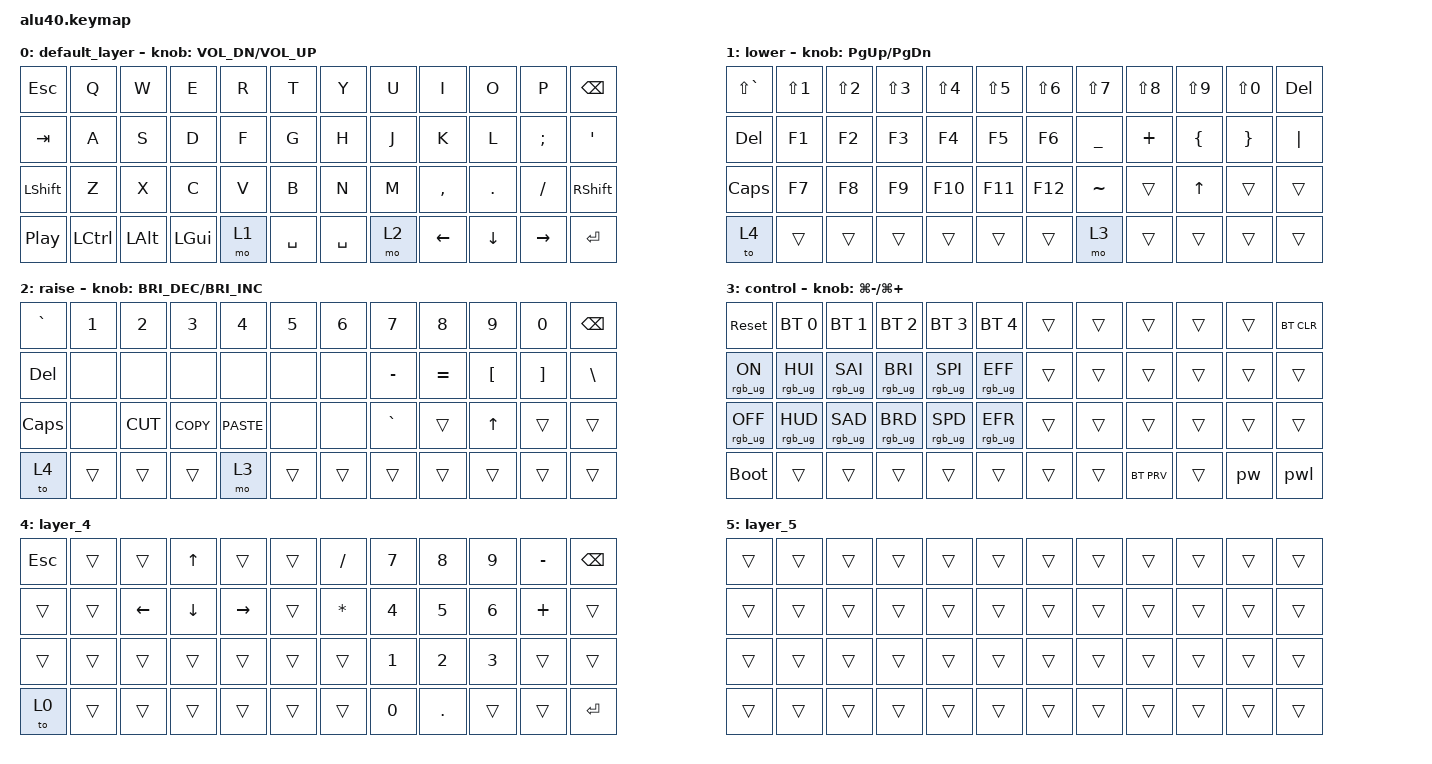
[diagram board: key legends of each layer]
/*
 * Copyright (c) 2022 The ZMK Contributors
 *
 * SPDX-License-Identifier: MIT
 */

#include <behaviors.dtsi>
#include <dt-bindings/zmk/bt.h>
#include <dt-bindings/zmk/keys.h>
#include <dt-bindings/zmk/rgb.h>

/ {
    macros {
        pw: pw {
            compatible = "zmk,behavior-macro";
            #binding-cells = <0>;
            bindings = <&kp LS(A) &kp S &kp K &kp N &kp O &kp T &kp F &kp O &kp R &kp W &kp H &kp O &kp M &kp T &kp H &kp E &kp B &kp E &kp L &kp L &kp T &kp O &kp L &kp L &kp S &kp EXCL &kp ENTER>;
            label = "PW";
        };

        pwl: pwl {
            compatible = "zmk,behavior-macro";
            #binding-cells = <0>;
            bindings = <&none &kp LS(T) &kp H &kp I &kp S &kp I &kp S &kp LS(N) &kp N0 &kp LS(T) &kp S &kp P &kp A &kp R &kp T &kp A &kp EXCL>;
            label = "PWL";
        };
    };

    combos {
        compatible = "zmk,combos";

        espace {
            bindings = <&kp ENTER>;
            key-positions = <41 42>;
        };
    };

    keymap {
        compatible = "zmk,keymap";

        default_layer {
            // -----------------------------------------------------------------------------------------
            // | ESC/~ |  Q   |  W   |  E   |  R   |  T   |   Y   |  U    |  I   |  O   |   P   | BSPC  |
            // | TAB   |  A   |  S   |  D   |  F   |  G   |   H   |  J    |  K   |  L   |   ;   |  '    |
            // | SHIFT |  Z   |  X   |  C   |  V   |  B   |   N   |  M    |  ,   |  .   |   /   |RET/SFT|
            // | PLAY  | LCTL | LALT | LGUI | LOWR |     SPACE    |  RAIS | LARW | UARW | DARW  |  RARW |

            bindings = <
&kp ESCAPE  &kp Q      &kp W     &kp E     &kp R  &kp T      &kp Y      &kp U  &kp I      &kp O           &kp P            &kp BSPC
&kp TAB     &kp A      &kp S     &kp D     &kp F  &kp G      &kp H      &kp J  &kp K      &kp L           &kp SEMI         &kp SQT
&kp LSHFT   &kp Z      &kp X     &kp C     &kp V  &kp B      &kp N      &kp M  &kp COMMA  &kp DOT         &kp FSLH         &kp RIGHT_SHIFT
&kp C_PP    &kp LCTRL  &kp LALT  &kp LGUI  &mo 1  &kp SPACE  &kp SPACE  &mo 2  &kp LEFT   &kp DOWN_ARROW  &kp RIGHT_ARROW  &kp ENTER
            >;

            sensor-bindings = <&inc_dec_kp C_VOL_DN C_VOL_UP>;
        };

        lower {
            bindings = <
&kp LS(GRAVE)  &kp LS(N1)  &kp LS(N2)  &kp LS(N3)  &kp LS(N4)  &kp LS(N5)  &kp LS(N6)  &kp LS(N7)  &kp LS(N8)  &kp LS(N9)    &kp LS(N0)  &kp DEL
&kp DEL        &kp F1      &kp F2      &kp F3      &kp F4      &kp F5      &kp F6      &kp UNDER   &kp PLUS    &kp LBRC      &kp RBRC    &kp PIPE
&kp CAPSLOCK   &kp F7      &kp F8      &kp F9      &kp F10     &kp F11     &kp F12     &kp TILDE   &trans      &kp UP_ARROW  &trans      &trans
&to 4          &trans      &trans      &trans      &trans      &trans      &trans      &mo 3       &trans      &trans        &trans      &trans
            >;

            sensor-bindings = <&inc_dec_kp PG_UP PG_DN>;
        };

        raise {
            bindings = <
&kp GRAVE     &kp N1  &kp N2     &kp N3      &kp N4       &kp N5  &kp N6  &kp N7     &kp N8     &kp N9        &kp N0    &kp BSPC
&kp DEL       &none   &none      &none       &none        &none   &none   &kp MINUS  &kp EQUAL  &kp LBKT      &kp RBKT  &kp BSLH
&kp CAPSLOCK  &none   &kp K_CUT  &kp K_COPY  &kp K_PASTE  &none   &none   &kp GRAVE  &trans     &kp UP_ARROW  &trans    &trans
&to 4         &trans  &trans     &trans      &mo 3        &trans  &trans  &trans     &trans     &trans        &trans    &trans
            >;

            sensor-bindings = <&inc_dec_kp C_BRI_DEC C_BRI_INC>;
        };

        control {
            bindings = <
&sys_reset       &bt BT_SEL 0     &bt BT_SEL 1     &bt BT_SEL 2     &bt BT_SEL 3     &bt BT_SEL 4     &trans  &trans  &trans      &trans  &trans  &bt BT_CLR
&rgb_ug RGB_ON   &rgb_ug RGB_HUI  &rgb_ug RGB_SAI  &rgb_ug RGB_BRI  &rgb_ug RGB_SPI  &rgb_ug RGB_EFF  &trans  &trans  &trans      &trans  &trans  &trans
&rgb_ug RGB_OFF  &rgb_ug RGB_HUD  &rgb_ug RGB_SAD  &rgb_ug RGB_BRD  &rgb_ug RGB_SPD  &rgb_ug RGB_EFR  &trans  &trans  &trans      &trans  &trans  &trans
&bootloader      &trans           &trans           &trans           &trans           &trans           &trans  &trans  &bt BT_PRV  &trans  &pw     &pwl
            >;

            sensor-bindings = <&inc_dec_kp LG(MINUS) LG(PLUS)>;
        };

        layer_4 {
            bindings = <
&kp ESC  &trans  &trans    &kp UP    &trans     &trans  &kp FSLH  &kp N7  &kp N8   &kp N9  &kp MINUS  &kp BSPC
&trans   &trans  &kp LEFT  &kp DOWN  &kp RIGHT  &trans  &kp STAR  &kp N4  &kp N5   &kp N6  &kp PLUS   &trans
&trans   &trans  &trans    &trans    &trans     &trans  &trans    &kp N1  &kp N2   &kp N3  &trans     &trans
&to 0    &trans  &trans    &trans    &trans     &trans  &trans    &kp N0  &kp DOT  &trans  &trans     &kp ENTER
            >;
        };

        layer_5 {
            bindings = <
&trans  &trans  &trans  &trans  &trans  &trans  &trans  &trans  &trans  &trans  &trans  &trans
&trans  &trans  &trans  &trans  &trans  &trans  &trans  &trans  &trans  &trans  &trans  &trans
&trans  &trans  &trans  &trans  &trans  &trans  &trans  &trans  &trans  &trans  &trans  &trans
&trans  &trans  &trans  &trans  &trans  &trans  &trans  &trans  &trans  &trans  &trans  &trans
            >;
        };
    };
};
